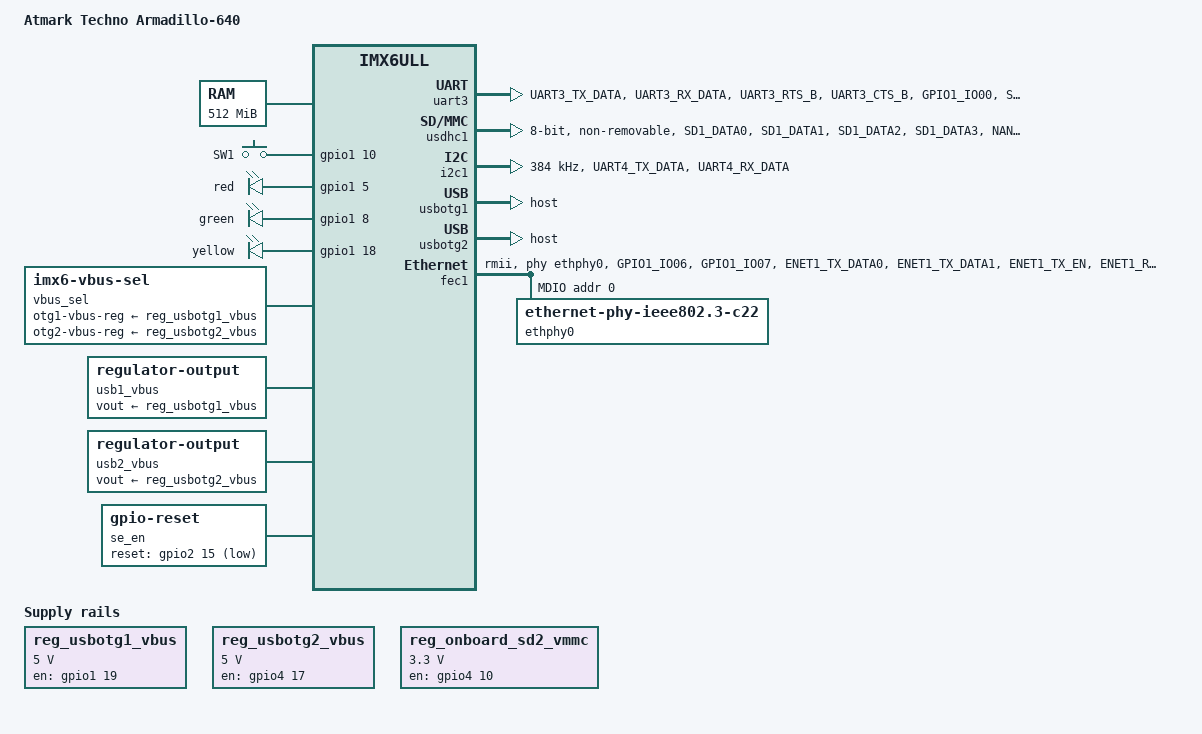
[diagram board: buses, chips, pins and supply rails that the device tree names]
// SPDX-License-Identifier: (GPL-2.0 OR MIT)
/*
 * Copyright (C) 2017 Yasushi SHOJI <yashi@atmark-techno.com>
 */

/dts-v1/;

#include "imx6ull.dtsi"
#if !defined(ARMADILLO_IOTG_A6)
#include "armadillo-640-default-console.dtsi"
#include "armadillo-640-uart5.dtsi"
#endif

/ {
	model = "Atmark Techno Armadillo-640";
	compatible = "atmark,a640", "fsl,imx6ull";

	memory@80000000 {
		device_type = "memory";
		reg = <0x80000000 0x20000000>;
	};

	gpio-keys {
		compatible = "gpio-keys";
		pinctrl-names = "default";
		pinctrl-0 = <&pinctrl_gpio_keys>;

		sw1 {
			label = "SW1";
			gpios = <&gpio1 10 GPIO_ACTIVE_HIGH>;
			linux,code = <KEY_PROG1>;
		};
	};

	gpio-leds {
		compatible = "gpio-leds";
		pinctrl-names = "default";
		pinctrl-0 = <&pinctrl_gpio_leds>;

		red {
			label = "red";
			gpios = <&gpio1 5 GPIO_ACTIVE_HIGH>;
			linux,default-trigger = "default-on";
		};
		green {
			label = "green";
			gpios = <&gpio1 8 GPIO_ACTIVE_HIGH>;
			linux,default-trigger = "default-on";
		};
		yellow {
			label = "yellow";
			gpios = <&gpio1 18 GPIO_ACTIVE_HIGH>;
			linux,default-trigger = "none";
		};
	};

	regulators {
		compatible = "simple-bus";
		#address-cells = <1>;
		#size-cells = <0>;

		reg_usbotg1_vbus: regulator-usbotg1vbus {
			pinctrl-names = "default";
			pinctrl-0 = <&pinctrl_usbotg1_vbus>;
			compatible = "regulator-fixed";
			regulator-name = "USB_OTG1_VBUS";
			regulator-min-microvolt = <5000000>;
			regulator-max-microvolt = <5000000>;
			gpio = <&gpio1 19 GPIO_ACTIVE_HIGH>;
			enable-active-high;
		};

		reg_usbotg2_vbus: regulator-usbotg2vbus {
			pinctrl-names = "default";
			pinctrl-0 = <&pinctrl_usbotg2_vbus>;
			compatible = "regulator-fixed";
			regulator-name = "USB_OTG2_VBUS";
			regulator-min-microvolt = <5000000>;
			regulator-max-microvolt = <5000000>;
			gpio = <&gpio4 17 GPIO_ACTIVE_HIGH>;
			enable-active-high;
		};

		reg_onboard_sd2_vmmc: regulator-onboardsd2vmmc {
			pinctrl-names = "default";
			pinctrl-0 = <&pinctrl_onboard_sd2_vmmc>;
			compatible = "regulator-fixed";
			regulator-name = "VDD_ONBOARD_SD2";
			regulator-min-microvolt = <3300000>;
			regulator-max-microvolt = <3300000>;
			gpio = <&gpio4 10 GPIO_ACTIVE_HIGH>;
			enable-active-high;
		};
	};

	vbus_sel: vbus-sel {
		compatible = "imx6-vbus-sel";
		otg1-vbus-reg-supply = <&reg_usbotg1_vbus>;
		otg2-vbus-reg-supply = <&reg_usbotg2_vbus>;
	};

	usb1_vbus: usb1-vbus {
		compatible = "regulator-output";
		vout-supply = <&reg_usbotg1_vbus>;
		autoswitch;
		init_on;
		no_exclusive;
	};

	usb2_vbus: usb2-vbus {
		compatible = "regulator-output";
		vout-supply = <&reg_usbotg2_vbus>;
		autoswitch;
		init_on;
		no_exclusive;
	};

	se_en: se-enable {
		compatible = "gpio-reset";
		pinctrl-names = "default";
		pinctrl-0 = <&pinctrl_se_reset_n>;
		reset-gpios = <&gpio2 15 GPIO_ACTIVE_LOW>;
		reset-assert-in-suspend;
	};
};

#include "armadillo-600-onboard-usdhc2.dtsi"

&uart3 {
	pinctrl-names = "default";
	pinctrl-0 = <&pinctrl_uart3 &pinctrl_snvs_uart3>;
	status = "okay";
	uart-has-rtscts;
	dtr-gpios = <&gpio1 00 GPIO_ACTIVE_LOW>;
	dsr-gpios = <&gpio5 00 GPIO_ACTIVE_LOW>;
	dcd-gpios = <&gpio5 02 GPIO_ACTIVE_LOW>;
	rng-gpios = <&gpio5 01 GPIO_ACTIVE_LOW>;
};

&usdhc1 {
	pinctrl-names = "default";
	pinctrl-0 = <&pinctrl_usdhc1>;
	bus-width = <8>;
	no-1-8-v;
	non-removable;
	keep-power-in-suspend;
	wakeup-source;
	status = "okay";
};

&iomuxc {
	pinctrl-names = "default";
	pinctrl-0 = <
		&pinctrl_lcd70ext_l00hog
		&pinctrl_expansion_interfacehog
		&pinctrl_thread_hog
		&pinctrl_customize
	>;

	pinctrl_lcd70ext_l00hog: lcd70ext_l00hoggrp {
		/* this group left empty for lcd70ext-l00 GPIOs */
	};

	pinctrl_expansion_interfacehog: expansion_interfacehoggrp {
		/* this group left empty for at-dtweb expansion GPIOs */
	};

	pinctrl_thread_hog: thread_hoggrp {
		/* this group left empty for armadillo-*-thread* */
	};

	pinctrl_customize: customizegrp {
		/* this group left empty for armadillo-600-customize */
	};

	pinctrl_uart3: uart3grp {
		fsl,pins = <
			MX6UL_PAD_UART3_TX_DATA__UART3_DCE_TX 0x00008
			MX6UL_PAD_UART3_RX_DATA__UART3_DCE_RX 0x1b0b1
			MX6UL_PAD_UART3_RTS_B__UART3_DCE_RTS 0x1b0b1
			MX6UL_PAD_UART3_CTS_B__UART3_DCE_CTS 0x00008
			MX6UL_PAD_GPIO1_IO00__GPIO1_IO00 0x00008 /*DTR*/
		>;
	};

	pinctrl_enet1: enet1grp {
		fsl,pins = <
			MX6UL_PAD_GPIO1_IO06__ENET1_MDIO	0x0b808
			MX6UL_PAD_GPIO1_IO07__ENET1_MDC		0x0b008
			MX6UL_PAD_ENET1_TX_DATA0__ENET1_TDATA00	0x0b010
			MX6UL_PAD_ENET1_TX_DATA1__ENET1_TDATA01	0x0b010
			MX6UL_PAD_ENET1_TX_EN__ENET1_TX_EN	0x1b0b0
			MX6UL_PAD_ENET1_RX_DATA0__ENET1_RDATA00	0x1b0b0
			MX6UL_PAD_ENET1_RX_DATA1__ENET1_RDATA01	0x1b0b0
			MX6UL_PAD_ENET1_RX_ER__ENET1_RX_ER	0x1b0b0
			MX6UL_PAD_ENET1_RX_EN__ENET1_RX_EN	0x1b0b0
			MX6UL_PAD_ENET1_TX_CLK__ENET1_REF_CLK1	0x4001b018
		>;
	};

	pinctrl_i2c1: i2c1grp {
		fsl,pins = <
			MX6UL_PAD_UART4_TX_DATA__I2C1_SCL	0x4001b8b0
			MX6UL_PAD_UART4_RX_DATA__I2C1_SDA	0x4001b8b0
		>;
	};

	pinctrl_se_reset_n: seresetngrp {
		fsl,pins = <
			MX6UL_PAD_ENET2_RX_ER__GPIO2_IO15	0x400010b0
		>;
	};

	pinctrl_usdhc1: usdhc1grp {
		fsl,pins = <
			MX6UL_PAD_SD1_DATA0__USDHC1_DATA0	0x17059
			MX6UL_PAD_SD1_DATA1__USDHC1_DATA1	0x17059
			MX6UL_PAD_SD1_DATA2__USDHC1_DATA2	0x17059
			MX6UL_PAD_SD1_DATA3__USDHC1_DATA3	0x17059
			MX6UL_PAD_NAND_READY_B__USDHC1_DATA4	0x17059
			MX6UL_PAD_NAND_CE0_B__USDHC1_DATA5	0x17059
			MX6UL_PAD_NAND_CE1_B__USDHC1_DATA6	0x17059
			MX6UL_PAD_NAND_CLE__USDHC1_DATA7	0x17059
			MX6UL_PAD_SD1_CLK__USDHC1_CLK		0x17059
			MX6UL_PAD_SD1_CMD__USDHC1_CMD		0x17059
			MX6UL_PAD_GPIO1_IO09__USDHC1_RESET_B	0x17059
		>;
	};

	pinctrl_gpio_keys: gpiokeysgrp {
		fsl,pins = <
			MX6UL_PAD_JTAG_MOD__GPIO1_IO10     0x13080
		>;
	};

	pinctrl_gpio_leds: gpioledsgrp {
		fsl,pins = <
			MX6UL_PAD_GPIO1_IO05__GPIO1_IO05   0x00008
			MX6UL_PAD_GPIO1_IO08__GPIO1_IO08   0x00008
			MX6UL_PAD_UART1_CTS_B__GPIO1_IO18  0x00008
		>;
	};

	pinctrl_usbotg1_vbus: usbotg1vbusgrp {
		fsl,pins = <
			MX6UL_PAD_UART1_RTS_B__GPIO1_IO19  0x00008
		>;
	};

	pinctrl_usbotg2_vbus: usbotg2vbusgrp {
		fsl,pins = <
			MX6UL_PAD_CSI_MCLK__GPIO4_IO17     0x00008
		>;
	};

	pinctrl_onboard_sd2_vmmc: onboardsd2vmmcgrp {
		fsl,pins = <
			MX6UL_PAD_NAND_ALE__GPIO4_IO10  0x00008
		>;
	};

	pinctrl_wdog: wdoggrp {
		fsl,pins = <
			MX6UL_PAD_LCD_RESET__WDOG1_WDOG_ANY    0x30b0
			>;
	};
};

&iomuxc_snvs {
	pinctrl_snvs_uart3: snvs_uart3grp {
		fsl,pins = <
			MX6ULL_PAD_SNVS_TAMPER0__GPIO5_IO00 0x1b0b1/*DSR*/
			MX6ULL_PAD_SNVS_TAMPER2__GPIO5_IO02 0x1b0b1/*DCD*/
			MX6ULL_PAD_SNVS_TAMPER1__GPIO5_IO01 0x1b0b1/*RI*/
		>;
	};
};

&i2c1 {
	pinctrl-names = "default";
	pinctrl-0 = <&pinctrl_i2c1>;
	clock-frequency = <384000>;
	status = "okay";

	/* for SE050 secure element */
};

&usbotg1 {
	dr_mode = "host";
	disable-over-current;
	status = "okay";
};

&usbphy1 {
	fsl,tx-d-cal = <106>;
};

&usbotg2 {
	dr_mode = "host";
	disable-over-current;
	status = "okay";
};

&usbphy2 {
	fsl,tx-d-cal = <106>;
};

&fec1 {
	pinctrl-names = "default";
	pinctrl-0 = <&pinctrl_enet1>;
	phy-mode = "rmii";
	phy-handle = <&ethphy0>;
	status = "okay";

	mdio {
		#address-cells = <1>;
		#size-cells = <0>;

		reset-gpios = <&gpio4 11 GPIO_ACTIVE_LOW>;
		reset-delay-us = <800>;
		reset-post-delay-us = <15000>;

		ethphy0: ethernet-phy@0 {
			compatible = "ethernet-phy-ieee802.3-c22";
			reg = <0>;
			clocks = <&clks IMX6UL_CLK_ENET_REF>;
			clock-names = "rmii-ref";
			smsc,disable-energy-detect;
		};
	};
};

&snvs_poweroff {
	status = "okay";
};

&wdog1 {
	pinctrl-names = "default";
	pinctrl-0 = <&pinctrl_wdog>;
	timeout-sec = <10>;
	fsl,ext-reset-output;
};

&gpio1 {
	gpio-line-names =
		/* GPIO1_IO00 - 03 */ "", "CON11_37", "CON11_36", "CON11_35",
		/* GPIO1_IO04 - 07 */ "CON11_34", "LED_RED", "", "",
		/* GPIO1_IO08 - 11 */ "LED_GREEN", "", "SW1", "",
		/* GPIO1_IO12 - 15 */ "", "", "", "",
		/* GPIO1_IO16 - 19 */ "CON9_5", "CON9_3", "LED_YELLOW", "",
		/* GPIO1_IO20 - 23 */ "CON14_3", "CON14_4", "CON9_1", "CON9_2",
		/* GPIO1_IO24 - 27 */ "", "", "", "",
		/* GPIO1_IO28 - 31 */ "", "", "CON9_6", "CON9_4";
};

&gpio3 {
	gpio-line-names =
		/* GPIO3_IO00 - 03 */ "CON11_8", "CON11_11", "CON11_9", "CON11_10",
		/* GPIO3_IO04 - 07 */ "", "CON11_13", "CON11_14", "CON11_15",
		/* GPIO3_IO08 - 11 */ "CON11_16", "CON11_17", "CON11_18", "CON11_20",
		/* GPIO3_IO12 - 15 */ "CON11_21", "CON11_22", "CON11_23", "CON11_24",
		/* GPIO3_IO16 - 19 */ "CON11_25", "CON11_27", "CON11_28", "CON11_29",
		/* GPIO3_IO20 - 23 */ "CON11_30", "CON11_31", "CON11_32", "CON9_13",
		/* GPIO3_IO24 - 27 */ "CON9_14", "CON9_15", "CON9_16", "CON9_17",
		/* GPIO3_IO28 - 31 */ "CON9_18", "", "", "";
};

&gpio4 {
	gpio-line-names =
		/* GPIO4_IO00 - 03 */ "", "", "", "",
		/* GPIO4_IO04 - 07 */ "", "", "CON9_25", "CON9_26",
		/* GPIO4_IO08 - 11 */ "CON9_27", "CON9_28", "", "",
		/* GPIO4_IO12 - 15 */ "", "", "", "",
		/* GPIO4_IO16 - 19 */ "CON11_12", "", "CON11_39", "CON11_49",
		/* GPIO4_IO20 - 23 */ "CON11_48", "CON11_40", "CON11_42", "CON11_43",
		/* GPIO4_IO24 - 27 */ "CON11_41", "CON11_47", "CON11_46", "CON11_45",
		/* GPIO4_IO28 - 31 */ "CON11_44", "", "", "";
};
